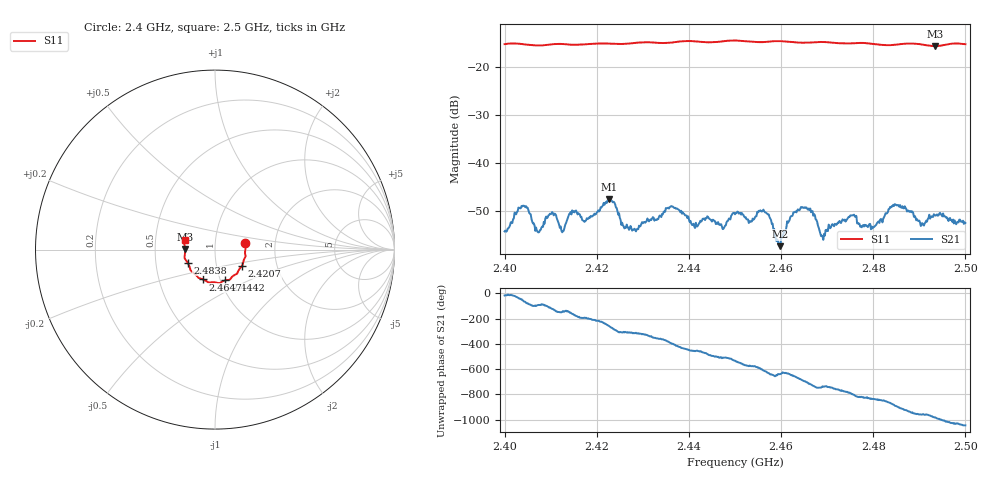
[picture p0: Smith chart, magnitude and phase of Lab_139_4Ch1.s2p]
# Hz S RI R 50
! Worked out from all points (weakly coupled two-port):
!   601 points, 2.4 GHz to 2.5 GHz, reference 50 ohm
!   highest |S21| = -47.49 dB at 2.4227 GHz (marker M1); lowest = -57.3 dB at 2.4598 GHz (marker M2)
!   lowest |S11| = -15.6 dB at 2.4935 GHz (marker M3), VSWR 1.40, Z = 35.8 + j0.121 ohm
!   |S11| at or under -10 dB: start of sweep to end of sweep
!   S12 and S22 are empty: the file has one direction only
!   S11 on the Smith chart (normalised r, x): 2.4 GHz: 1.40, +0.11; 2.4207 GHz: 1.33, -0.24; 2.4442 GHz: 1.05, -0.37; 2.4647 GHz: 0.83, -0.29; 2.4838 GHz: 0.73, -0.11; 2.5 GHz: 0.71, +0.08
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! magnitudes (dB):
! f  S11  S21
! 2.4 GHz  -15.2  -54.2
! 2.4042 GHz  -15.3  -48.9
! 2.4072 GHz  -15.5  -54.3
! 2.41 GHz  -15.3  -50.7
! 2.4125 GHz  -15.2  -54.4
! 2.4167 GHz  -15.3  -51.2
! 2.4207 GHz  -15.1  -49.9
! 2.4227 GHz  -15.1  -47.5
! 2.4265 GHz  -15.1  -52.8
! 2.4333 GHz  -15.0  -51.7
! 2.4442 GHz  -14.9  -51.3
! 2.4475 GHz  -14.6  -53.7
! 2.45 GHz  -14.5  -50.7
! 2.4565 GHz  -14.8  -50.3
! 2.4598 GHz  -14.6  -57.3
! 2.4647 GHz  -14.9  -49.2
! 2.4667 GHz  -14.9  -50.0
! 2.469 GHz  -14.8  -55.4
! 2.4833 GHz  -15.5  -49.6
! 2.4838 GHz  -15.4  -49.3
! 2.4935 GHz  -15.6  -51.0
! 2.5 GHz  -15.2  -52.5
